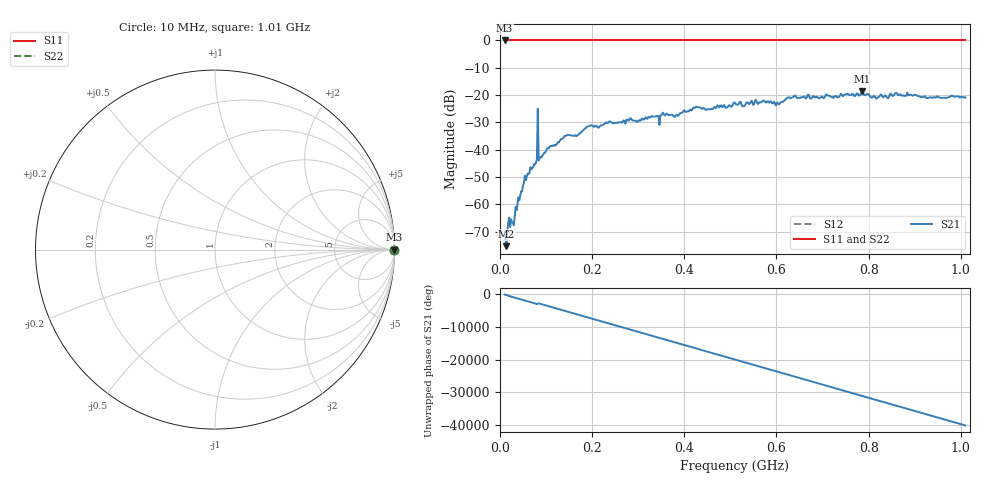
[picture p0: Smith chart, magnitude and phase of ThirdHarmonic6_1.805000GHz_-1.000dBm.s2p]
! 8/16/2025 9:51:32 PM
! C:\ANRITSUVNA\TEMP\TEMP.S2P
! CHANNEL.1
! TR.MEASUREMENT
! RAW.DATA
! RF.CORRECTION.OFF
! AVERAGING.OFF
! IF.BANDWIDTH: 5KHZ
! SWEEPTYPE:  FREQ.SWEEP(Linear)
! Reference Plane Port Info
! PORT:  PORT1  PORT2
! DISTANCE:  0  m  0  m
! TIME:  0  s  0  s
! PHASE.OFFSET:  0  deg.  0  deg.
! LOSS:  0  dB  0  dB
! REF.LOSS:  0  dB  0  dB
! REF.FREQ:  0  Hz  0  Hz
! Power Info
! POWER:  -20  dBm  -20  dBm
! EFF.POWER:  -20  dBm  -20  dBm
! SOURCE.ATTEN:  0  dB  0  dB
! TEST.ATTEN:  0  dB  0  dB
# GHZ S RI R 50.0
! FREQ.GHZ  S11RE  S11IM  S21RE  S21IM  S12RE  S12IM  S22RE  S22IM
!; PortSelection: Port_12
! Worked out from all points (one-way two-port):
!   501 points, 10 MHz to 1.01 GHz, reference 50 ohm
!   highest |S21| = -18.67 dB at 786 MHz (marker M1); lowest = -75.3 dB at 14 MHz (marker M2)
!   lowest |S11| = 0.0 dB at 10 MHz (marker M3)
!   |S11| at or under -10 dB: nowhere
!   |S22| runs from 0.0 to 0.0 dB; largest |S21 - S12| = 1.1
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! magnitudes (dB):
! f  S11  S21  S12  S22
! 10 MHz  0.0  -73.0  0.0  0.0
! 14 MHz  0.0  -75.3  0.0  0.0
! 20 MHz  0.0  -64.8  0.0  0.0
! 26 MHz  0.0  -66.5  0.0  0.0
! 32 MHz  0.0  -64.1  0.0  0.0
! 56 MHz  0.0  -51.2  0.0  0.0
! 76 MHz  0.0  -45.4  0.0  0.0
! 78 MHz  0.0  -44.8  0.0  0.0
! 86 MHz  0.0  -43.0  0.0  0.0
! 88 MHz  0.0  -42.7  0.0  0.0
! 142 MHz  0.0  -34.9  0.0  0.0
! 178 MHz  0.0  -33.2  0.0  0.0
! 234 MHz  0.0  -30.3  0.0  0.0
! 344 MHz  0.0  -27.7  0.0  0.0
! 424 MHz  0.0  -24.5  0.0  0.0
! 510 MHz  0.0  -22.8  0.0  0.0
! 602 MHz  0.0  -22.7  0.0  0.0
! 638 MHz  0.0  -20.5  0.0  0.0
! 678 MHz  0.0  -20.8  0.0  0.0
! 786 MHz  0.0  -18.7  0.0  0.0
! 844 MHz  0.0  -20.8  0.0  0.0
! 1.01 GHz  0.0  -20.9  0.0  0.0
